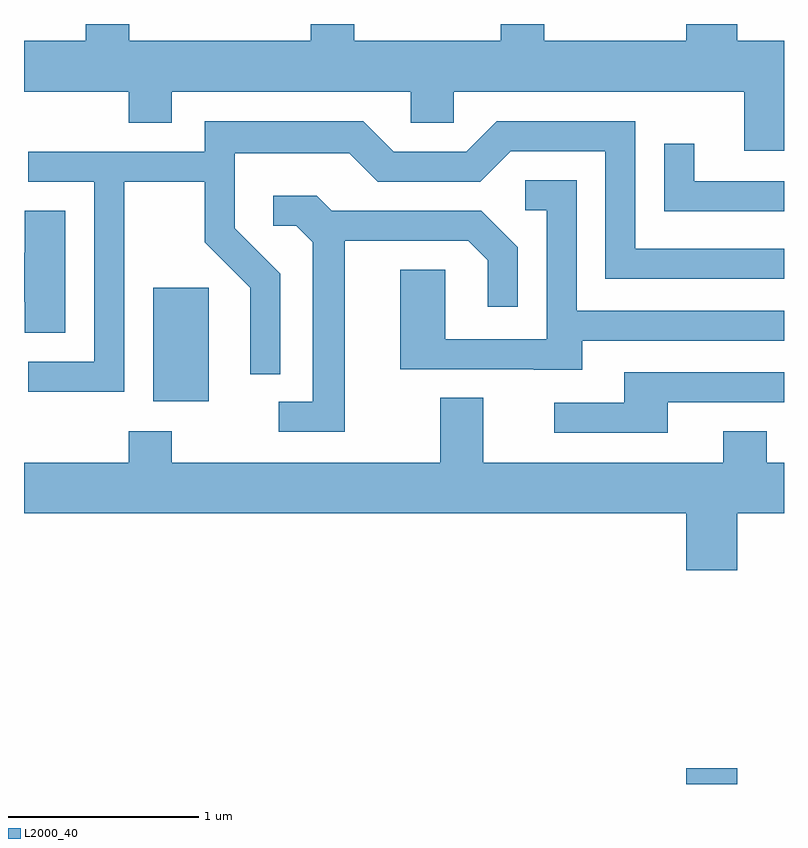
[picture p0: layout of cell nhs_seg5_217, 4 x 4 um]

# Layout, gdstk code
import gdstk
lib = gdstk.Library(unit=1e-6, precision=1e-09)
def R(c, l, rs):  # rectangles x0, y0, x1, y1
    for r in rs: c.add(gdstk.rectangle(r[:2], r[2:], *l))
def P(c, l, *ps):  # polygons
    for p in ps: c.add(gdstk.Polygon(p, *l))
L2000_40 = (2000, 40)

nhs_seg5_217 = lib.new_cell('nhs_seg5_217')
R(nhs_seg5_217, L2000_40, [(195.096,1422.072,195.364,1422.154), (192.291,1424.086,192.584,1424.684)])
P(nhs_seg5_217, L2000_40, [(195.611,1425.984),(195.364,1425.984),(195.364,1426.072),(195.096,1426.072),(195.096,1425.984),(194.349,1425.984),(194.349,1426.072),(194.121,1426.072),(194.121,1425.984),(193.349,1425.984),(193.349,1426.072),(193.121,1426.072),(193.121,1425.984),(192.164,1425.984),(192.164,1426.072),(191.936,1426.072),(191.936,1425.984),(191.611,1425.984),(191.611,1425.716),(192.161,1425.716),(192.161,1425.551),(192.389,1425.551),(192.389,1425.716),(193.646,1425.716),(193.646,1425.551),(193.874,1425.551),(193.874,1425.716),(195.401,1425.716),(195.401,1425.406),(195.611,1425.406)],
  [(192.139,1425.241),(192.561,1425.241),(192.561,1424.924),(192.801,1424.684),(192.801,1424.228),(192.959,1424.228),(192.959,1424.757),(192.719,1424.997),(192.719,1425.391),(193.324,1425.391),(193.474,1425.241),(194.012,1425.241),(194.172,1425.401),(194.671,1425.401),(194.671,1424.731),(195.611,1424.731),(195.611,1424.889),(194.829,1424.889),(194.829,1425.559),(194.099,1425.559),(193.939,1425.399),(193.557,1425.399),(193.397,1425.559),(192.561,1425.559),(192.561,1425.399),(191.633,1425.399),(191.633,1425.241),(191.981,1425.241),(191.981,1424.294),(191.633,1424.294),(191.633,1424.136),(192.139,1424.136)],
  [(195.611,1425.244),(195.139,1425.244),(195.139,1425.443),(194.981,1425.443),(194.981,1425.086),(195.611,1425.086)],
  [(194.549,1424.406),(195.611,1424.406),(195.611,1424.564),(194.519,1424.564),(194.519,1425.249),(194.248,1425.249),(194.248,1425.091),(194.361,1425.091),(194.361,1424.414),(193.829,1424.414),(193.829,1424.779),(193.591,1424.779),(193.591,1424.256),(194.295,1424.256),(194.295,1424.251),(194.549,1424.251)],
  [(193.299,1424.931),(193.949,1424.931),(194.051,1424.829),(194.051,1424.583),(194.209,1424.583),(194.209,1424.897),(194.017,1425.089),(193.232,1425.089),(193.152,1425.169),(192.923,1425.169),(192.923,1425.011),(193.044,1425.011),(193.131,1424.924),(193.131,1424.084),(192.953,1424.084),(192.953,1423.926),(193.299,1423.926)],
  [(191.829,1425.089),(191.616,1425.089),(191.616,1424.869),(191.611,1424.869),(191.611,1424.611),(191.616,1424.611),(191.616,1424.446),(191.829,1424.446)],
  [(194.999,1424.081),(195.611,1424.081),(195.611,1424.239),(194.771,1424.239),(194.771,1424.079),(194.403,1424.079),(194.403,1423.921),(194.999,1423.921)],
  [(195.364,1423.496),(195.611,1423.496),(195.611,1423.764),(195.519,1423.764),(195.519,1423.929),(195.291,1423.929),(195.291,1423.764),(194.029,1423.764),(194.029,1424.104),(193.801,1424.104),(193.801,1423.764),(192.389,1423.764),(192.389,1423.929),(192.161,1423.929),(192.161,1423.764),(191.611,1423.764),(191.611,1423.496),(195.096,1423.496),(195.096,1423.196),(195.364,1423.196)])

lib.write_gds('nhs_seg5_217.gds')
